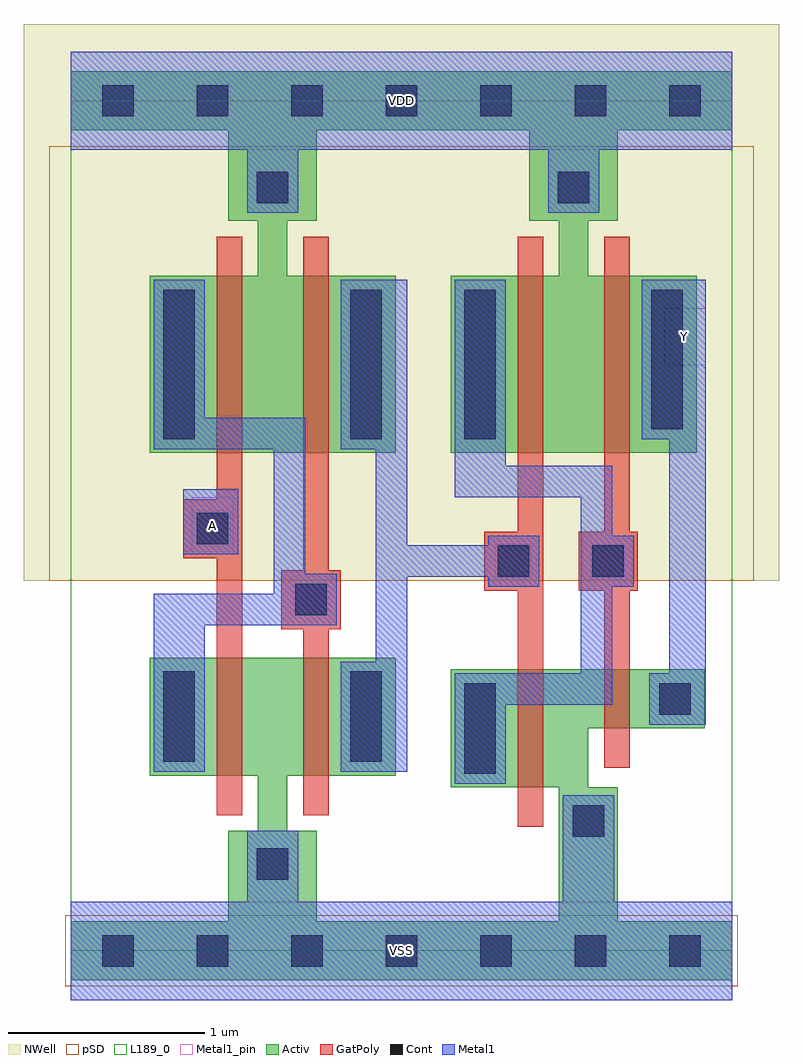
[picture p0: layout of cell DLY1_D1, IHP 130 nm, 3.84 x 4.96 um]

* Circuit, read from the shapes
.subckt DLY1_D1 A VDD VSS Y
XM1 VSS A n1 VSS sg13_lv_nmos w=0.6u l=0.13u
XM2 n2 n1 VSS VSS sg13_lv_nmos w=0.6u l=0.13u
XM3 VSS n2 n3 VSS sg13_lv_nmos w=0.6u l=0.13u
XM4 Y n3 VSS VSS sg13_lv_nmos w=0.3u l=0.13u
XM5 VDD A n1 VDD sg13_lv_pmos w=0.9u l=0.13u
XM6 n2 n1 VDD VDD sg13_lv_pmos w=0.9u l=0.13u
XM7 VDD n2 n3 VDD sg13_lv_pmos w=0.9u l=0.13u
XM8 Y n3 VDD VDD sg13_lv_pmos w=0.9u l=0.13u
.ends

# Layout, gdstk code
import gdstk
lib = gdstk.Library(unit=1e-6, precision=1e-09)
def R(c, l, rs):  # rectangles x0, y0, x1, y1
    for r in rs: c.add(gdstk.rectangle(r[:2], r[2:], *l))
def A(c, l, x, y, w, h, nx, ny, dx, dy):  # array of equal rectangles
    R(c, l, [(x+i*dx, y+j*dy, x+i*dx+w, y+j*dy+h) for i in range(nx) for j in range(ny)])
def P(c, l, *ps):  # polygons
    for p in ps: c.add(gdstk.Polygon(p, *l))
Activ = (1, 0)
GatPoly = (5, 0)
Cont = (6, 0)
Metal1 = (8, 0)
Metal1_pin = (8, 2)
pSD = (14, 0)
NWell = (31, 0)
L189_0 = (189, 0)

dly1_d1 = lib.new_cell('DLY1_D1')
P(dly1_d1, Activ, [(0,-0.15),(0,0.15),(0.8,0.15),(0.8,0.61),(0.95,0.61),(0.95,0.89),(0.4,0.89),(0.4,1.49),(1.65,1.49),(1.65,0.89),(1.1,0.89),(1.1,0.61),(1.25,0.61),(1.25,0.15),(2.48,0.15),(2.48,0.83),(1.93,0.83),(1.93,1.43),(3.22,1.43),(3.22,1.13),(2.63,1.13),(2.63,0.83),(2.78,0.83),(2.78,0.15),(3.36,0.15),(3.36,-0.15)],
  [(0.4,2.53),(0.4,3.43),(0.95,3.43),(0.95,3.71),(0.8,3.71),(0.8,4.17),(0,4.17),(0,4.47),(3.36,4.47),(3.36,4.17),(2.78,4.17),(2.78,3.71),(2.63,3.71),(2.63,3.43),(3.18,3.43),(3.18,2.53),(1.93,2.53),(1.93,3.43),(2.48,3.43),(2.48,3.71),(2.33,3.71),(2.33,4.17),(1.25,4.17),(1.25,3.71),(1.1,3.71),(1.1,3.43),(1.65,3.43),(1.65,2.53)])
P(dly1_d1, GatPoly, [(0.74,0.69),(0.74,1.995),(0.57,1.995),(0.57,2.295),(0.74,2.295),(0.74,3.63),(0.87,3.63),(0.87,0.69)],
  [(1.18,0.69),(1.18,1.635),(1.07,1.635),(1.07,1.935),(1.18,1.935),(1.18,3.63),(1.31,3.63),(1.31,1.935),(1.37,1.935),(1.37,1.635),(1.31,1.635),(1.31,0.69)],
  [(2.27,0.63),(2.27,1.83),(2.1,1.83),(2.1,2.13),(2.27,2.13),(2.27,3.63),(2.4,3.63),(2.4,0.63)],
  [(2.71,0.93),(2.71,1.83),(2.58,1.83),(2.58,2.13),(2.71,2.13),(2.71,3.63),(2.84,3.63),(2.84,2.13),(2.88,2.13),(2.88,1.83),(2.84,1.83),(2.84,0.93)])
A(dly1_d1, Cont, 0.16, -0.08, 0.16, 0.16, 7, 2, 0.48, 4.32)
R(dly1_d1, Cont, [(0.945,0.36,1.105,0.52), (2.55,0.58,2.71,0.74), (2,0.9,2.16,1.36), (0.47,0.96,0.63,1.42), (1.42,0.96,1.58,1.42), (2.99,1.2,3.15,1.36), (1.14,1.705,1.3,1.865), (2.17,1.9,2.33,2.06), (2.65,1.9,2.81,2.06), (0.64,2.065,0.8,2.225), (0.47,2.6,0.63,3.36), (1.42,2.6,1.58,3.36), (2,2.6,2.16,3.36), (2.95,2.65,3.11,3.36), (0.945,3.8,1.105,3.96), (2.475,3.8,2.635,3.96)])
R(dly1_d1, Metal1, [(0.57,2.015,0.85,2.345)])
P(dly1_d1, Metal1, [(0,-0.25),(0,0.25),(0.895,0.25),(0.895,0.61),(1.155,0.61),(1.155,0.25),(2.5,0.25),(2.5,0.79),(2.76,0.79),(2.76,0.25),(3.36,0.25),(3.36,-0.25)],
  [(0.42,0.91),(0.42,1.815),(1.03,1.815),(1.03,2.55),(0.42,2.55),(0.42,3.41),(0.68,3.41),(0.68,2.71),(1.19,2.71),(1.19,1.915),(1.35,1.915),(1.35,1.655),(0.68,1.655),(0.68,0.91)],
  [(1.37,0.91),(1.37,1.47),(1.55,1.47),(1.55,2.55),(1.37,2.55),(1.37,3.41),(1.71,3.41),(1.71,2.06),(2.12,2.06),(2.12,2.11),(2.38,2.11),(2.38,1.85),(2.12,1.85),(2.12,1.9),(1.71,1.9),(1.71,0.91)],
  [(1.95,0.85),(1.95,1.41),(2.59,1.41),(2.59,2.305),(1.95,2.305),(1.95,3.41),(2.21,3.41),(2.21,2.465),(2.75,2.465),(2.75,2.11),(2.86,2.11),(2.86,1.85),(2.75,1.85),(2.75,1.25),(2.21,1.25),(2.21,0.85)],
  [(2.94,1.15),(2.94,1.41),(3.04,1.41),(3.04,2.6),(2.9,2.6),(2.9,3.41),(3.225,3.41),(3.225,1.15)],
  [(0.895,3.75),(0.895,4.07),(0,4.07),(0,4.57),(3.36,4.57),(3.36,4.07),(2.685,4.07),(2.685,3.75),(2.425,3.75),(2.425,4.07),(1.155,4.07),(1.155,3.75)])
R(dly1_d1, Metal1_pin, [(0,-0.25,3.36,0.25), (0.615,2.015,0.825,2.305), (3.015,2.975,3.225,3.265), (0,4.07,3.36,4.57)])
R(dly1_d1, pSD, [(-0.03,-0.18,3.39,0.18), (-0.11,1.88,3.47,4.09)])
R(dly1_d1, NWell, [(-0.24,1.88,3.6,4.71)])
R(dly1_d1, L189_0, [(0,0,3.36,4.32)])
dly1_d1.add(gdstk.Label('A', (0.72,2.16), layer=8, texttype=25))
dly1_d1.add(gdstk.Label('VSS', (1.68,0), layer=8, texttype=25))
dly1_d1.add(gdstk.Label('VDD', (1.68,4.32), layer=8, texttype=25))
dly1_d1.add(gdstk.Label('Y', (3.12,3.12), layer=8, texttype=25))

lib.write_gds('DLY1_D1.gds')
